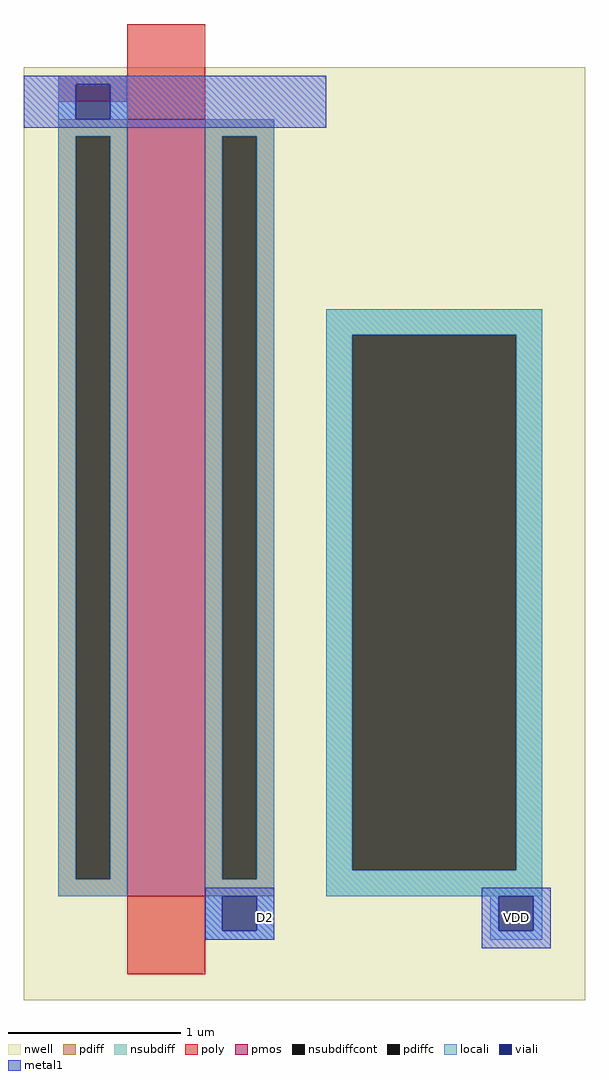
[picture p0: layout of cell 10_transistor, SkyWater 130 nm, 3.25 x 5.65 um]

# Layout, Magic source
magic
tech sky130A
<< nwell >>
rect 860 -445 1185 95
<< pmos >>
rect 920 -385 965 65
<< pdiff >>
rect 880 55 920 65
rect 880 -375 890 55
rect 910 -375 920 55
rect 880 -385 920 -375
rect 965 55 1005 65
rect 965 -375 975 55
rect 995 -375 1005 55
rect 965 -385 1005 -375
<< pdiffc >>
rect 890 -375 910 55
rect 975 -375 995 55
<< nsubdiff >>
rect 1035 -60 1160 -45
rect 1035 -370 1050 -60
rect 1145 -370 1160 -60
rect 1035 -385 1160 -370
<< nsubdiffcont >>
rect 1050 -370 1145 -60
<< poly >>
rect 920 90 965 120
rect 880 75 965 90
rect 920 65 965 75
rect 920 -430 965 -385
<< locali >>
rect 880 85 920 90
rect 880 65 890 85
rect 910 65 920 85
rect 880 55 920 65
rect 880 -375 890 55
rect 910 -375 920 55
rect 880 -385 920 -375
rect 965 55 1005 65
rect 965 -375 975 55
rect 995 -375 1005 55
rect 965 -385 1005 -375
rect 1035 -60 1160 -45
rect 1035 -370 1050 -60
rect 1145 -370 1160 -60
rect 1035 -385 1160 -370
rect 965 -405 975 -385
rect 995 -405 1005 -385
rect 965 -410 1005 -405
rect 1130 -405 1135 -385
rect 1155 -405 1160 -385
rect 1130 -410 1160 -405
<< viali >>
rect 890 65 910 85
rect 975 -405 995 -385
rect 1135 -405 1155 -385
<< metal1 >>
rect 860 85 1035 90
rect 860 65 890 85
rect 910 65 1035 85
rect 860 60 1035 65
rect 965 -385 1005 -380
rect 965 -405 975 -385
rect 995 -405 1005 -385
rect 965 -410 1005 -405
rect 1125 -385 1165 -380
rect 1125 -405 1135 -385
rect 1155 -405 1165 -385
rect 1125 -415 1165 -405
<< labels >>
rlabel metal1 s 1130 -410 1160 -385 3 VDD
port 3 e
rlabel metal1 995 -410 1005 -385 5 D2
port 5 s
<< end >>
